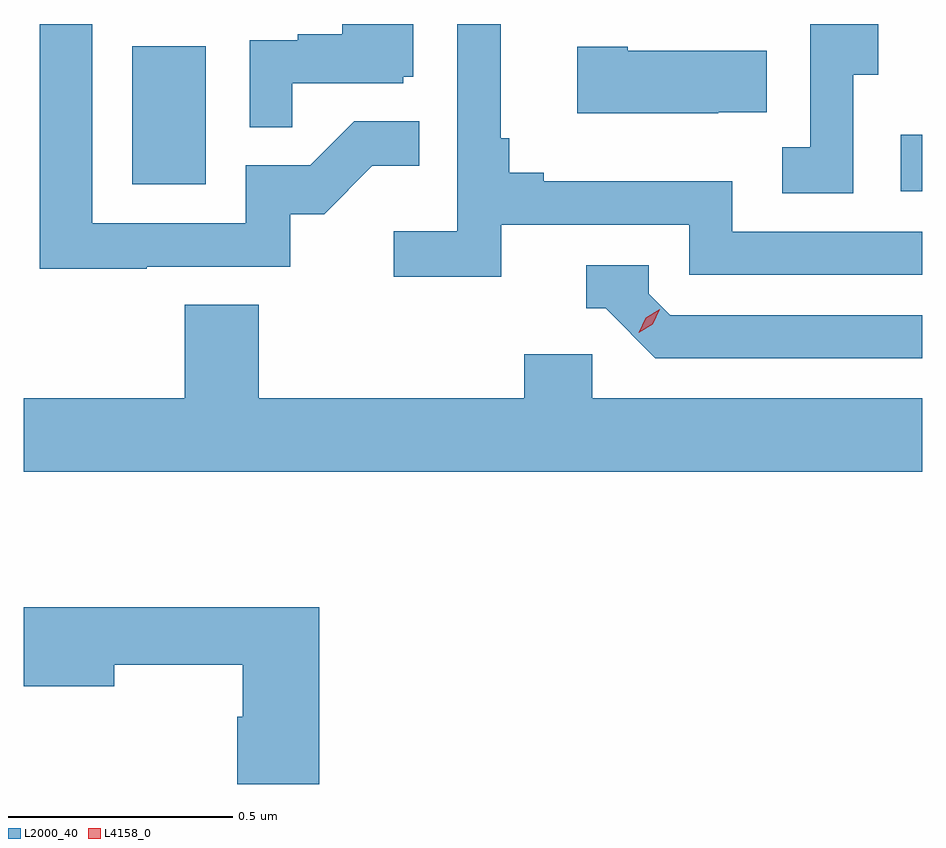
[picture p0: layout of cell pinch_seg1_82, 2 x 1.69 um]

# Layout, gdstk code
import gdstk
lib = gdstk.Library(unit=1e-6, precision=1e-09)
def R(c, l, rs):  # rectangles x0, y0, x1, y1
    for r in rs: c.add(gdstk.rectangle(r[:2], r[2:], *l))
def P(c, l, *ps):  # polygons
    for p in ps: c.add(gdstk.Polygon(p, *l))
L2000_40 = (2000, 40)
L4158_0 = (4158, 0)

pinch_seg1_82 = lib.new_cell('pinch_seg1_82')
R(pinch_seg1_82, L2000_40, [(1060.581,581.661,1060.629,581.786), (1058.87,581.676,1059.034,581.983)])
P(pinch_seg1_82, L2000_40, [(1059.692,581.586),(1060.11,581.586),(1060.11,581.475),(1060.629,581.475),(1060.629,581.571),(1060.206,581.571),(1060.206,581.683),(1059.787,581.683),(1059.787,581.702),(1059.71,581.702),(1059.71,581.779),(1059.691,581.779),(1059.691,582.033),(1059.594,582.033),(1059.594,581.572),(1059.453,581.572),(1059.453,581.47),(1059.692,581.47)],
  [(1059.227,581.901),(1059.474,581.901),(1059.474,581.916),(1059.496,581.916),(1059.496,582.033),(1059.338,582.033),(1059.338,582.01),(1059.239,582.01),(1059.239,581.997),(1059.132,581.997),(1059.132,581.803),(1059.227,581.803)],
  [(1058.903,581.493),(1059.222,581.493),(1059.222,581.61),(1059.298,581.61),(1059.405,581.717),(1059.509,581.717),(1059.509,581.816),(1059.365,581.816),(1059.267,581.718),(1059.123,581.718),(1059.123,581.589),(1058.781,581.589),(1058.781,582.033),(1058.665,582.033),(1058.665,581.488),(1058.903,581.488)],
  [(1060.476,581.92),(1060.531,581.92),(1060.531,582.033),(1060.38,582.033),(1060.38,581.759),(1060.317,581.759),(1060.317,581.656),(1060.476,581.656)],
  [(1060.175,581.837),(1060.283,581.837),(1060.283,581.974),(1059.973,581.974),(1059.973,581.982),(1059.861,581.982),(1059.861,581.834),(1060.175,581.834)],
  [(1060.629,581.385),(1060.068,581.385),(1060.02,581.433),(1060.02,581.496),(1059.881,581.496),(1059.881,581.4),(1059.924,581.4),(1060.035,581.289),(1060.629,581.289)],
  [(1060.629,581.2),(1059.894,581.2),(1059.894,581.298),(1059.743,581.298),(1059.743,581.2),(1059.152,581.2),(1059.152,581.408),(1058.987,581.408),(1058.987,581.2),(1058.629,581.2),(1058.629,581.036),(1060.629,581.036)],
  [(1059.287,580.735),(1058.629,580.735),(1058.629,580.559),(1058.83,580.559),(1058.83,580.606),(1059.116,580.606),(1059.116,580.491),(1059.104,580.491),(1059.104,580.341),(1059.287,580.341)])
P(pinch_seg1_82, L4158_0, [(1059.998,581.346),(1059.998,581.346),(1060.014,581.379),(1060.045,581.398),(1060.045,581.398),(1060.045,581.398),(1060.029,581.365),(1059.998,581.346)])

lib.write_gds('pinch_seg1_82.gds')
